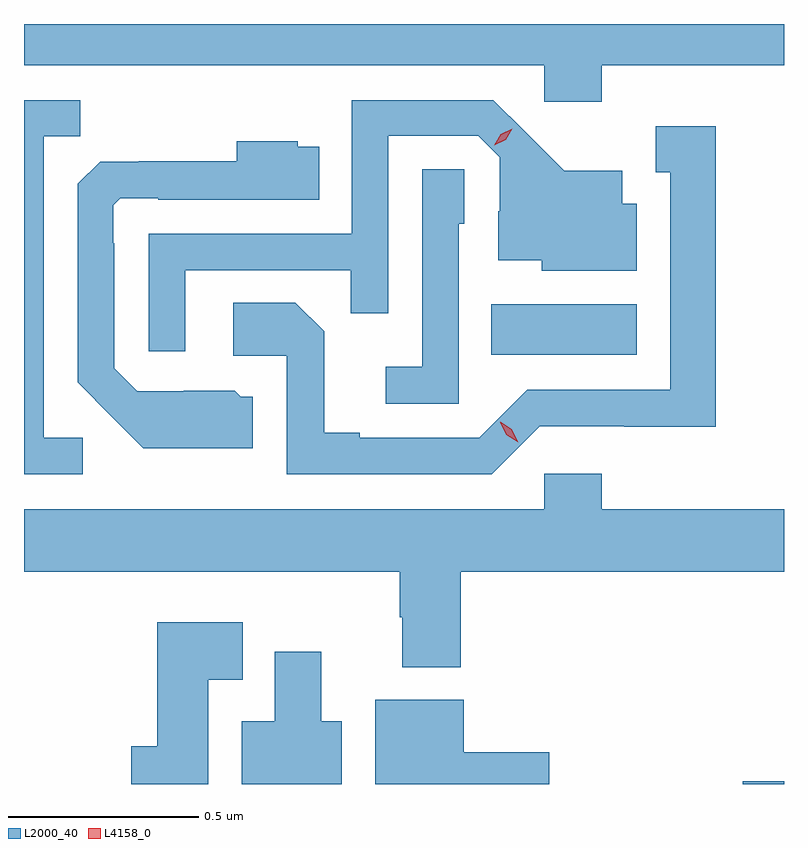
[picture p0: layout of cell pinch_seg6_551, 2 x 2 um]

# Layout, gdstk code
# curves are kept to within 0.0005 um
import gdstk
lib = gdstk.Library(unit=1e-6, precision=1e-09)
def R(c, l, rs):  # rectangles x0, y0, x1, y1
    for r in rs: c.add(gdstk.rectangle(r[:2], r[2:], *l))
def P(c, l, *ps):  # polygons
    for p in ps: c.add(gdstk.Polygon(p, *l))
L2000_40 = (2000, 40)
L4158_0 = (4158, 0)

pinch_seg6_551 = lib.new_cell('pinch_seg6_551')
R(pinch_seg6_551, L2000_40, [(766.512,933.457,766.621,933.464), (765.85,934.586,766.234,934.72)])
P(pinch_seg6_551, L2000_40, [(766.142,935.348),(766.621,935.348),(766.621,935.457),(764.621,935.457),(764.621,935.348),(765.99,935.348),(765.99,935.253),(766.142,935.253)],
  [(765.045,934.809),(765.481,934.809),(765.481,934.696),(765.579,934.696),(765.579,935.163),(765.816,935.163),(765.873,935.106),(765.873,934.964),(765.869,934.964),(765.869,934.835),(765.984,934.835),(765.984,934.808),(766.234,934.808),(766.234,934.984),(766.195,934.984),(766.195,935.071),(766.043,935.071),(765.856,935.256),(765.483,935.256),(765.483,934.905),(764.949,934.905),(764.949,934.596),(765.045,934.596)],
  [(764.776,934.368),(764.673,934.368),(764.673,935.161),(764.769,935.161),(764.769,935.256),(764.621,935.256),(764.621,934.272),(764.776,934.272)],
  [(765.978,934.398),(766.2,934.398),(766.2,934.397),(766.441,934.397),(766.441,935.188),(766.283,935.188),(766.283,935.067),(766.322,935.067),(766.322,934.494),(765.945,934.494),(765.819,934.368),(765.505,934.368),(765.505,934.381),(765.411,934.381),(765.411,934.648),(765.335,934.724),(765.171,934.724),(765.171,934.584),(765.312,934.584),(765.312,934.272),(765.852,934.272)],
  [(765.223,934.476),(765.192,934.476),(765.176,934.492),(765.042,934.492),(765.042,934.491),(764.919,934.491),(764.859,934.551),(764.859,934.88),(764.856,934.88),(764.856,934.98),(764.874,934.998),(764.974,934.998),(764.974,934.995),(765.398,934.995),(765.398,935.134),(765.342,935.134),(765.342,935.149),(765.181,935.149),(765.181,935.096),(764.923,935.096),(764.923,935.095),(764.822,935.095),(764.763,935.036),(764.763,934.514),(764.935,934.34),(765.223,934.34)],
  [(765.765,934.932),(765.78,934.932),(765.78,935.075),(765.669,935.075),(765.669,934.555),(765.573,934.555),(765.573,934.458),(765.765,934.458)],
  [(765.77,934.016),(766.621,934.016),(766.621,934.18),(766.142,934.18),(766.142,934.273),(765.99,934.273),(765.99,934.18),(764.621,934.18),(764.621,934.016),(765.61,934.016),(765.61,933.896),(765.617,933.896),(765.617,933.764),(765.77,933.764)],
  [(765.106,933.731),(765.196,933.731),(765.196,933.883),(764.972,933.883),(764.972,933.556),(764.903,933.556),(764.903,933.457),(765.106,933.457)],
  [(765.457,933.622),(765.403,933.622),(765.403,933.805),(765.281,933.805),(765.281,933.622),(765.194,933.622),(765.194,933.457),(765.457,933.457)],
  [(766.003,933.54),(765.778,933.54),(765.778,933.679),(765.545,933.679),(765.545,933.457),(766.003,933.457)])
P(pinch_seg6_551, L4158_0, [(765.858,935.138),(765.858,935.138),(765.875,935.167),(765.906,935.182),(765.906,935.182),(765.906,935.182),(765.889,935.152),(765.858,935.138)],
  [(765.922,934.356),(765.89,934.376),(765.874,934.409),(765.874,934.41),(765.874,934.41),(765.905,934.39),(765.922,934.356),(765.922,934.356)])

lib.write_gds('pinch_seg6_551.gds')
